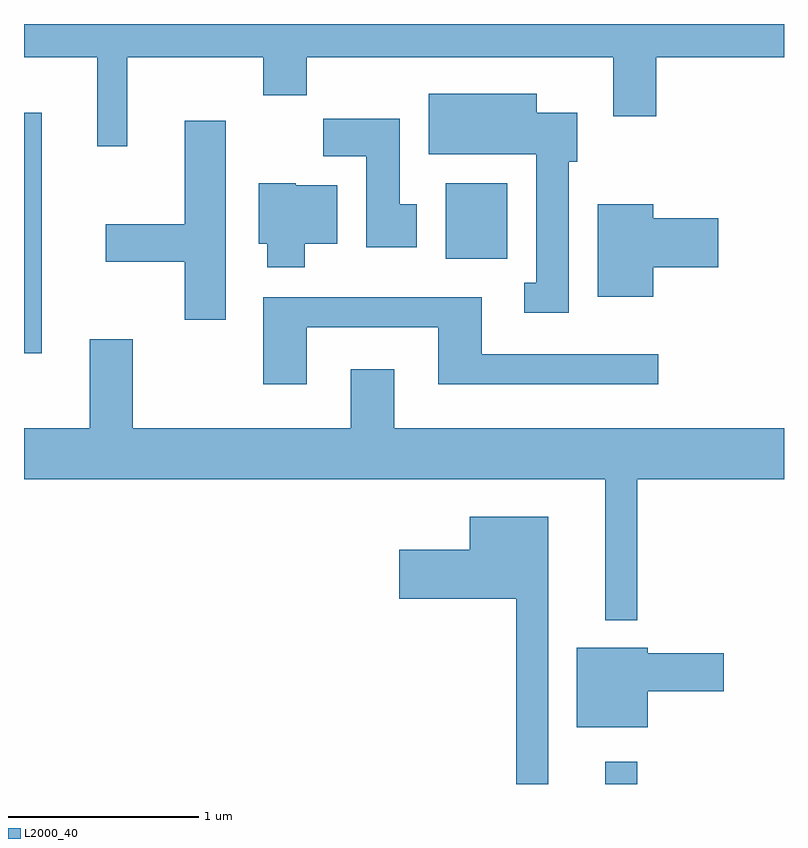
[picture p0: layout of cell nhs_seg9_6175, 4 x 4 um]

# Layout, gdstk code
import gdstk
lib = gdstk.Library(unit=1e-6, precision=1e-09)
def R(c, l, rs):  # rectangles x0, y0, x1, y1
    for r in rs: c.add(gdstk.rectangle(r[:2], r[2:], *l))
def P(c, l, *ps):  # polygons
    for p in ps: c.add(gdstk.Polygon(p, *l))
L2000_40 = (2000, 40)

nhs_seg9_6175 = lib.new_cell('nhs_seg9_6175')
R(nhs_seg9_6175, L2000_40, [(370.671,1992.432,370.839,1992.548), (367.611,1994.698,367.704,1995.964), (369.831,1995.196,370.154,1995.594)])
P(nhs_seg9_6175, L2000_40, [(368.154,1996.256),(368.871,1996.256),(368.871,1996.056),(369.099,1996.056),(369.099,1996.256),(370.711,1996.256),(370.711,1995.946),(370.939,1995.946),(370.939,1996.256),(371.611,1996.256),(371.611,1996.432),(367.611,1996.432),(367.611,1996.256),(367.996,1996.256),(367.996,1995.788),(368.154,1995.788)],
  [(370.479,1995.706),(370.524,1995.706),(370.524,1995.964),(370.309,1995.964),(370.309,1996.064),(369.741,1996.064),(369.741,1995.746),(370.306,1995.746),(370.306,1995.069),(370.243,1995.069),(370.243,1994.911),(370.479,1994.911)],
  [(369.679,1995.484),(369.589,1995.484),(369.589,1995.934),(369.186,1995.934),(369.186,1995.736),(369.411,1995.736),(369.411,1995.256),(369.679,1995.256)],
  [(368.674,1995.924),(368.456,1995.924),(368.456,1995.379),(368.041,1995.379),(368.041,1995.181),(368.456,1995.181),(368.456,1994.876),(368.674,1994.876)],
  [(369.089,1995.276),(369.259,1995.276),(369.259,1995.584),(369.04,1995.584),(369.04,1995.594),(368.846,1995.594),(368.846,1995.276),(368.891,1995.276),(368.891,1995.151),(369.089,1995.151)],
  [(370.924,1995.151),(371.264,1995.151),(371.264,1995.409),(370.924,1995.409),(370.924,1995.484),(370.631,1995.484),(370.631,1994.996),(370.924,1994.996)],
  [(369.099,1994.836),(369.791,1994.836),(369.791,1994.536),(370.948,1994.536),(370.948,1994.694),(370.019,1994.694),(370.019,1994.994),(368.871,1994.994),(368.871,1994.536),(369.099,1994.536)],
  [(370.839,1994.036),(371.611,1994.036),(371.611,1994.304),(369.559,1994.304),(369.559,1994.614),(369.331,1994.614),(369.331,1994.304),(368.184,1994.304),(368.184,1994.774),(367.956,1994.774),(367.956,1994.304),(367.611,1994.304),(367.611,1994.036),(370.671,1994.036),(370.671,1993.293),(370.839,1993.293)],
  [(370.369,1993.839),(369.956,1993.839),(369.956,1993.664),(369.586,1993.664),(369.586,1993.406),(370.201,1993.406),(370.201,1992.432),(370.369,1992.432)],
  [(370.894,1992.921),(371.294,1992.921),(371.294,1993.119),(370.894,1993.119),(370.894,1993.149),(370.521,1993.149),(370.521,1992.731),(370.894,1992.731)])

lib.write_gds('nhs_seg9_6175.gds')
